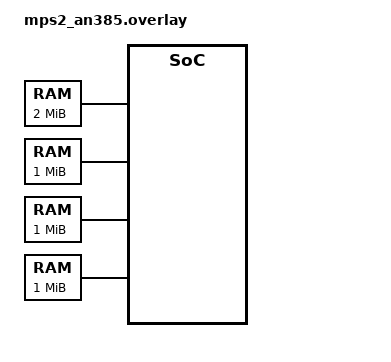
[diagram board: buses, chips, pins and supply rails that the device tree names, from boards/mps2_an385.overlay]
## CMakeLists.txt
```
# SPDX-License-Identifier: Apache-2.0

cmake_minimum_required(VERSION 3.20.0)

find_package(Zephyr REQUIRED HINTS $ENV{ZEPHYR_BASE})
project(arm_mpu_regions)

target_sources(app PRIVATE src/main.c)
```

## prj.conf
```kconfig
CONFIG_ZTEST=y
CONFIG_HAVE_CUSTOM_LINKER_SCRIPT=y
CONFIG_CUSTOM_LINKER_SCRIPT="linker_sram_regions.ld"
```

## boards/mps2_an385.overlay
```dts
/*
 * Copyright (c) 2021 Carlo Caione <ccaione@baylibre.com>
 *
 * SPDX-License-Identifier: Apache-2.0
 */

/ {
	/delete-node/ memory@20000000;

	sram0: memory@20000000 {
		compatible = "mmio-sram";
		reg = <0x20000000 0x200000>;
	};

	sram_cache: memory@20200000 {
		compatible = "mpu-region", "mmio-sram";
		reg = <0x20200000 0x100000>;
		zephyr,memory-region = "SRAM_CACHE";
		zephyr,memory-region-mpu = "REGION_RAM_ATTR";
	};

	sram_no_cache: memory@20300000 {
		compatible = "mpu-region", "mmio-sram";
		reg = <0x20300000 0x100000>;
		zephyr,memory-region = "SRAM_NO_CACHE";
		zephyr,memory-region-mpu = "REGION_RAM_NOCACHE_ATTR";
	};

	sram_dtcm_fake: memory@abcdabcd {
		compatible = "mpu-region", "arm,dtcm";
		reg = <0xabcdabcd 0x100000>;
		zephyr,memory-region = "SRAM_DTCM_FAKE";
		zephyr,memory-region-mpu = "REGION_RAM_ATTR";
	};
};
```

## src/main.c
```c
/*
 * Copyright (c) 2021 Carlo Caione <ccaione@baylibre.com>
 *
 * SPDX-License-Identifier: Apache-2.0
 */

#include <zephyr/zephyr.h>
#include <zephyr/linker/linker-defs.h>
#include <zephyr/sys/slist.h>
#include <zephyr/arch/arm/aarch32/mpu/arm_mpu.h>
#include <ztest.h>
#include <string.h>

extern const struct arm_mpu_config mpu_config;

static arm_mpu_region_attr_t cacheable = REGION_RAM_ATTR(REGION_1M);
static arm_mpu_region_attr_t noncacheable = REGION_RAM_NOCACHE_ATTR(REGION_1M);

static void test_regions(void)
{
	int cnt = 0;

	for (size_t i = 0; i < mpu_config.num_regions; i++) {
		const struct arm_mpu_region *r = &mpu_config.mpu_regions[i];

		if (!strcmp(r->name, "SRAM_CACHE")) {
			zassert_equal(r->base, 0x20200000, "Wrong base");
			zassert_equal(r->attr.rasr, cacheable.rasr,
				      "Wrong attr for SRAM_CACHE");
			cnt++;
		} else if (!strcmp(r->name, "SRAM_NO_CACHE")) {
			zassert_equal(r->base, 0x20300000, "Wrong base");
			zassert_equal(r->attr.rasr, noncacheable.rasr,
				      "Wrong attr for SRAM_NO_CACHE");
			cnt++;
		} else if (!strcmp(r->name, "SRAM_DTCM_FAKE")) {
			zassert_equal(r->base, 0xabcdabcd, "Wrong base");
			zassert_equal(r->attr.rasr, cacheable.rasr,
				      "Wrong attr for SRAM_DTCM_FAKE");
			cnt++;
		}
	}

	if (cnt != 3) {
		/*
		 * SRAM0 and SRAM_NO_MPU should not create any MPU region.
		 * Check that.
		 */
		ztest_test_fail();
	}
}

void test_main(void)
{
	ztest_test_suite(test_c_arm_mpu_regions,
			ztest_unit_test(test_regions)
			);

	ztest_run_test_suite(test_c_arm_mpu_regions);
}
```
